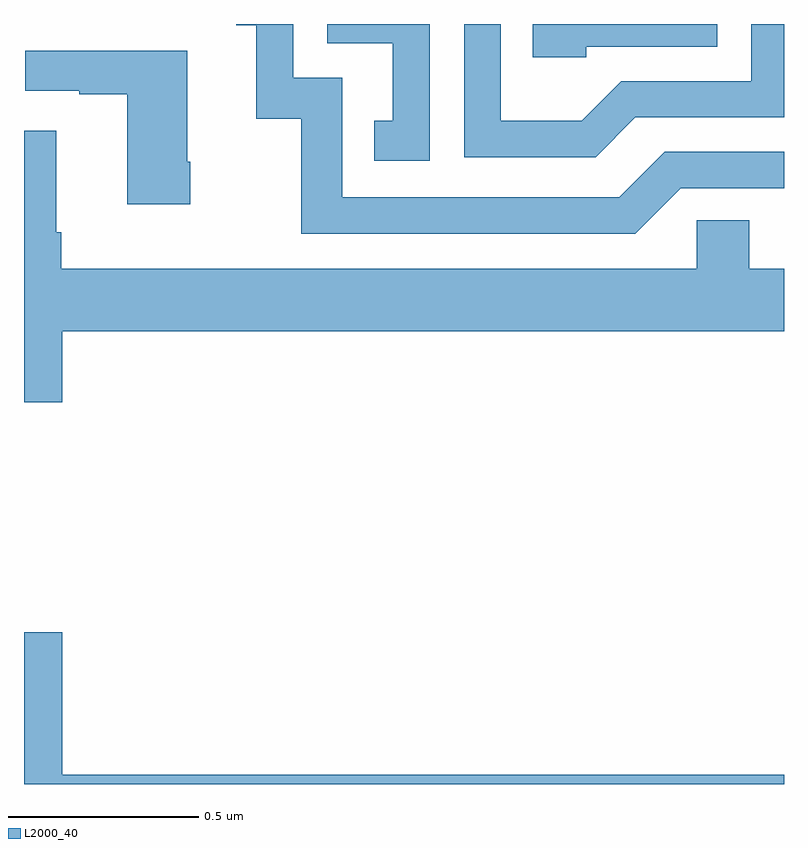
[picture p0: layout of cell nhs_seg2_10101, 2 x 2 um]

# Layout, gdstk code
import gdstk
lib = gdstk.Library(unit=1e-6, precision=1e-09)
def P(c, l, *ps):  # polygons
    for p in ps: c.add(gdstk.Polygon(p, *l))
L2000_40 = (2000, 40)

nhs_seg2_10101 = lib.new_cell('nhs_seg2_10101')
P(nhs_seg2_10101, L2000_40, [(238.728,625.368),(239,625.368),(239,625.464),(238.686,625.464),(238.566,625.344),(237.837,625.344),(237.837,625.659),(237.708,625.659),(237.708,625.8),(237.558,625.8),(237.558,625.797),(237.611,625.797),(237.611,625.551),(237.729,625.551),(237.729,625.248),(238.608,625.248)],
  [(238.479,625.74),(238.824,625.74),(238.824,625.8),(238.339,625.8),(238.339,625.713),(238.479,625.713)],
  [(238.068,625.8),(237.798,625.8),(237.798,625.749),(237.971,625.749),(237.971,625.545),(237.922,625.545),(237.922,625.44),(238.068,625.44)],
  [(238.609,625.554),(239,625.554),(239,625.8),(238.914,625.8),(238.914,625.65),(238.572,625.65),(238.468,625.546),(238.254,625.546),(238.254,625.8),(238.158,625.8),(238.158,625.449),(238.504,625.449)],
  [(237.438,625.438),(237.43,625.438),(237.43,625.729),(237.003,625.729),(237.003,625.625),(237.146,625.625),(237.146,625.615),(237.272,625.615),(237.272,625.326),(237.438,625.326)],
  [(237.1,624.992),(239,624.992),(239,625.156),(238.909,625.156),(238.909,625.283),(238.77,625.283),(238.77,625.156),(237.098,625.156),(237.098,625.252),(237.085,625.252),(237.085,625.519),(237,625.519),(237,624.804),(237.1,624.804)],
  [(239,623.824),(237.1,623.824),(237.1,624.199),(237,624.199),(237,623.8),(239,623.8)])

lib.write_gds('nhs_seg2_10101.gds')
